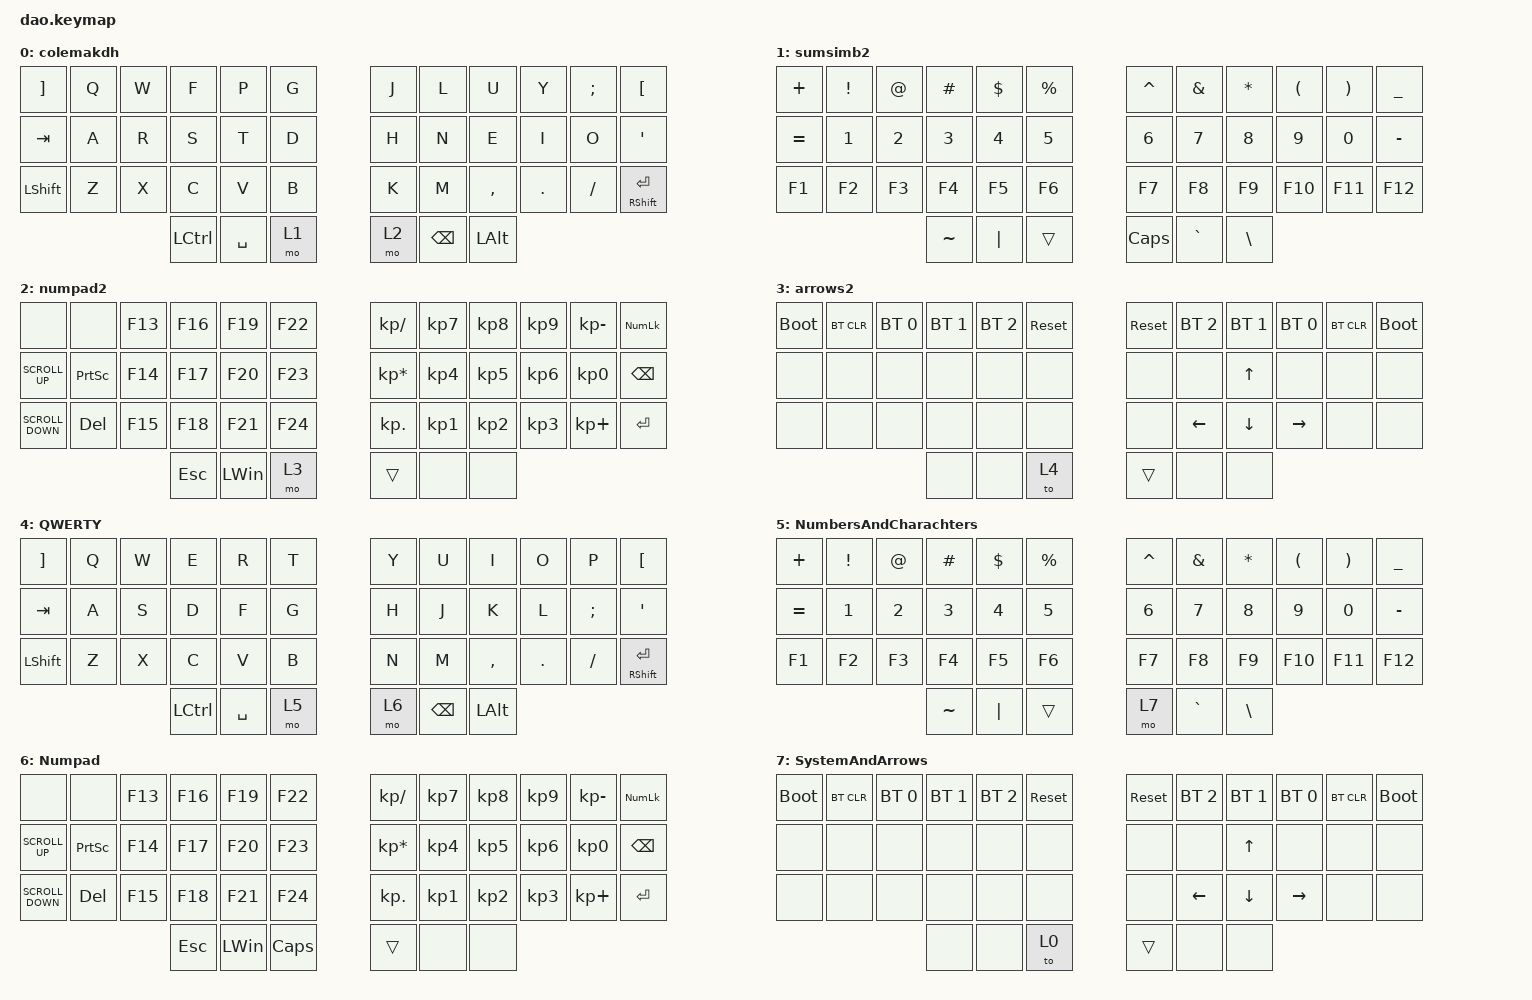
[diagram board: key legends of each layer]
/*
 * Copyright (c) 2021 Rafael Yumagulov
 *
 * SPDX-License-Identifier: MIT
 */

#include <behaviors.dtsi>
#include <dt-bindings/zmk/bt.h>
#include <dt-bindings/zmk/keys.h>

#define DEF 0
#define LWR 1
#define RSE 2
#define ADJ 3

&lt { quick_tap_ms = <200>; };

&mt { quick_tap_ms = <200>; };

/ {
    chosen {
        zmk,matrix_transform = &default_transform;

        // zmk,matrix_transform = &extra_keys_transform;
    };
};

/ {
    keymap {
        compatible = "zmk,keymap";

        colemakdh {
            bindings = <
&kp RIGHT_BRACKET  &kp Q  &kp W  &kp F      &kp P      &kp G  &kp J  &kp L          &kp U         &kp Y    &kp SEMI  &kp LEFT_BRACKET
&kp TAB            &kp A  &kp R  &kp S      &kp T      &kp D  &kp H  &kp N          &kp E         &kp I    &kp O     &kp SQT
&kp LSHIFT         &kp Z  &kp X  &kp C      &kp V      &kp B  &kp K  &kp M          &kp COMMA     &kp DOT  &kp FSLH  &mt RIGHT_SHIFT ENTER
                                 &kp LCTRL  &kp SPACE  &mo 1  &mo 2  &kp BACKSPACE  &kp LEFT_ALT
            >;
        };

        sumsimb2 {
            bindings = <
&kp PLUS   &kp EXCL  &kp AT  &kp HASH   &kp DLLR  &kp PRCNT  &kp CARET  &kp AMPS   &kp STAR       &kp LPAR  &kp RPAR  &kp UNDER
&kp EQUAL  &kp N1    &kp N2  &kp N3     &kp N4    &kp N5     &kp N6     &kp N7     &kp N8         &kp N9    &kp N0    &kp MINUS
&kp F1     &kp F2    &kp F3  &kp F4     &kp F5    &kp F6     &kp F7     &kp F8     &kp F9         &kp F10   &kp F11   &kp F12
                             &kp TILDE  &kp PIPE  &trans     &kp CAPS   &kp GRAVE  &kp BACKSLASH
            >;
        };

        numpad2 {
            bindings = <
&none              &none            &kp F13  &kp F16  &kp F19       &kp F22  &kp KP_DIVIDE    &kp KP_NUMBER_7  &kp KP_N8  &kp KP_N9        &kp KP_SUBTRACT  &kp KP_NUMLOCK
&kp K_SCROLL_UP    &kp PRINTSCREEN  &kp F14  &kp F17  &kp F20       &kp F23  &kp KP_MULTIPLY  &kp KP_NUMBER_4  &kp KP_N5  &kp KP_NUMBER_6  &kp KP_NUMBER_0  &kp BACKSPACE
&kp K_SCROLL_DOWN  &kp DELETE       &kp F15  &kp F18  &kp F21       &kp F24  &kp KP_DOT       &kp KP_N1        &kp KP_N2  &kp KP_N3        &kp KP_PLUS      &kp ENTER
                                             &kp ESC  &kp LEFT_WIN  &mo 3    &trans           &none            &none
            >;
        };

        arrows2 {
            bindings = <
&bootloader  &bt BT_CLR  &bt BT_SEL 0  &bt BT_SEL 1  &bt BT_SEL 2  &sys_reset  &sys_reset  &bt BT_SEL 2  &bt BT_SEL 1    &bt BT_SEL 0  &bt BT_CLR  &bootloader
&none        &none       &none         &none         &none         &none       &none       &none         &kp UP_ARROW    &none         &none       &none
&none        &none       &none         &none         &none         &none       &none       &kp LEFT      &kp DOWN_ARROW  &kp RIGHT     &none       &none
                                       &none         &none         &to 4       &trans      &none         &none
            >;
        };

        QWERTY {
            bindings = <
&kp RIGHT_BRACKET  &kp Q  &kp W  &kp E      &kp R      &kp T  &kp Y  &kp U          &kp I         &kp O    &kp P     &kp LEFT_BRACKET
&kp TAB            &kp A  &kp S  &kp D      &kp F      &kp G  &kp H  &kp J          &kp K         &kp L    &kp SEMI  &kp APOSTROPHE
&kp LSHIFT         &kp Z  &kp X  &kp C      &kp V      &kp B  &kp N  &kp M          &kp COMMA     &kp DOT  &kp FSLH  &mt RIGHT_SHIFT ENTER
                                 &kp LCTRL  &kp SPACE  &mo 5  &mo 6  &kp BACKSPACE  &kp LEFT_ALT
            >;
        };

        NumbersAndCharachters {
            bindings = <
&kp PLUS   &kp EXCL  &kp AT  &kp HASH   &kp DLLR  &kp PRCNT  &kp CARET  &kp AMPS   &kp STAR       &kp LPAR  &kp RPAR  &kp UNDER
&kp EQUAL  &kp N1    &kp N2  &kp N3     &kp N4    &kp N5     &kp N6     &kp N7     &kp N8         &kp N9    &kp N0    &kp MINUS
&kp F1     &kp F2    &kp F3  &kp F4     &kp F5    &kp F6     &kp F7     &kp F8     &kp F9         &kp F10   &kp F11   &kp F12
                             &kp TILDE  &kp PIPE  &trans     &mo 7      &kp GRAVE  &kp BACKSLASH
            >;
        };

        Numpad {
            bindings = <
&none              &none            &kp F13  &kp F16  &kp F19       &kp F22       &kp KP_DIVIDE    &kp KP_NUMBER_7  &kp KP_N8  &kp KP_N9        &kp KP_SUBTRACT  &kp KP_NUMLOCK
&kp K_SCROLL_UP    &kp PRINTSCREEN  &kp F14  &kp F17  &kp F20       &kp F23       &kp KP_MULTIPLY  &kp KP_NUMBER_4  &kp KP_N5  &kp KP_NUMBER_6  &kp KP_NUMBER_0  &kp BACKSPACE
&kp K_SCROLL_DOWN  &kp DELETE       &kp F15  &kp F18  &kp F21       &kp F24       &kp KP_DOT       &kp KP_N1        &kp KP_N2  &kp KP_N3        &kp KP_PLUS      &kp ENTER
                                             &kp ESC  &kp LEFT_WIN  &kp CAPSLOCK  &trans           &none            &none
            >;
        };

        SystemAndArrows {
            bindings = <
&bootloader  &bt BT_CLR  &bt BT_SEL 0  &bt BT_SEL 1  &bt BT_SEL 2  &sys_reset  &sys_reset  &bt BT_SEL 2  &bt BT_SEL 1    &bt BT_SEL 0  &bt BT_CLR  &bootloader
&none        &none       &none         &none         &none         &none       &none       &none         &kp UP_ARROW    &none         &none       &none
&none        &none       &none         &none         &none         &none       &none       &kp LEFT      &kp DOWN_ARROW  &kp RIGHT     &none       &none
                                       &none         &none         &to 0       &trans      &none         &none
            >;
        };
    };
};
